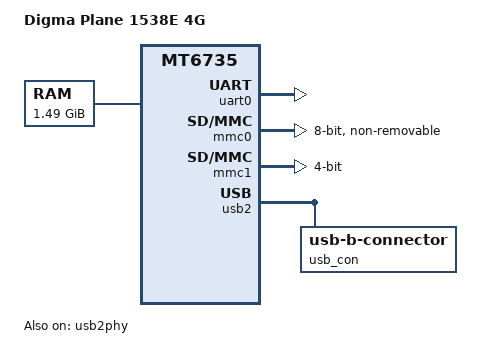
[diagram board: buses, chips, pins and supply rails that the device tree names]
// SPDX-License-Identifier: BSD-3-Clause
/*
 * Author: Maxim Kutnij <gtk3@inbox.ru>
 */

/dts-v1/;

#include "mt6735.dtsi"
#include "mt6328.dtsi"
#include <dt-bindings/input/input.h>

/ {
	model = "Digma Plane 1538E 4G";
	compatible = "digma,ps1150ml", "mediatek,mt6735";

	aliases {
		serial0 = &uart0;
	};

	chosen {
		#address-cells = <2>;
		#size-cells = <2>;
		ranges;

		stdout-path = "serial0:921600n8";

		framebuffer0: framebuffer {
		compatible = "simple-framebuffer";
		reg = <0 0x7f110000 0 (800 * 1280 * 4)>;
		width = <800>;
		height = <1280>;
		stride = <(800 * 4)>;
		format = "r8g8b8";
		status = "okay";
		};
	};

	memory@40000000 {
		device_type = "memory";
		reg = <0 0x40000000 0 0x5f530000>;
	};

	reserved-memory {
		ramoops@43f10000 {
			compatible = "ramoops";
			reg = <0 0x43f10000 0 0xe0000>;
		};

		fb_mem: memory@0x7f110000 {
			reg = <0 0x7f110000 0 (800 * 1280 * 4)>;
			no-map;
		};
	};
};

&mt6328_keys {
	status = "okay";

	power-off-time-sec = <10>;
};

&mt6328_home {
	linux,keycodes = <KEY_VOLUMEDOWN>;
};

&pwrap {
	status = "okay";
};

&uart0 {
	status = "okay";
};

&mmc0 {
	bus-width = <8>;
	cap-mmc-highspeed;
	mmc-hs400-1_8v;
	cap-mmc-hw-reset;
	max-frequency = <200000000>;
	non-removable;
	status = "okay";
};

&mmc1 {
	status = "okay";
	bus-width = <4>;
	max-frequency = <200000000>;
	cap-sd-highspeed;
	sd-uhs-sdr104;
};

&usb2 {
	status = "okay";

	usb_con: connector {
		compatible = "usb-b-connector";
		type = "micro";
	};
};

&usb2phy {
	status = "okay";
};
